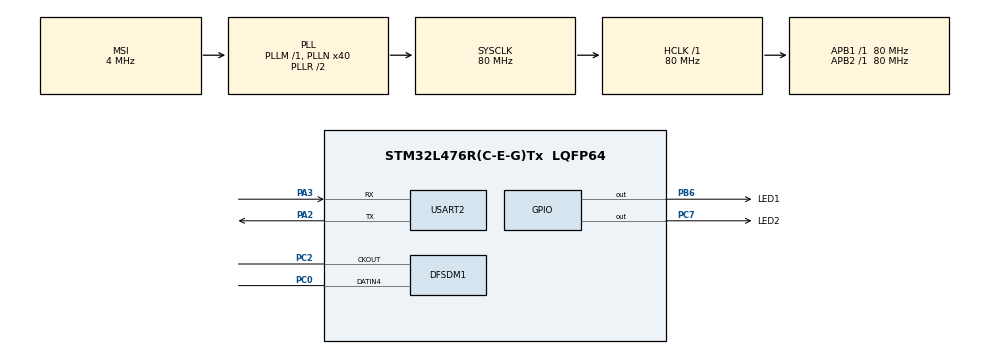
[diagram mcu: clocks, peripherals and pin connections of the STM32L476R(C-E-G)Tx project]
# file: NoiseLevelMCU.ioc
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DFSDM1.Divider=32
DFSDM1.DmaMode_reg_FIL0=ENABLE
DFSDM1.FastMode_reg_FIL0=ENABLE
DFSDM1.Filter_regChannel_FIL0=DFSDM_CHANNEL_3
DFSDM1.Filter_regChannel_FIL1=__NULL
DFSDM1.Fosr_FIL0=38
DFSDM1.Iosr_FIL0=4
DFSDM1.SincOrder_FIL0=DFSDM_FILTER_SINC4_ORDER
Dma.DFSDM1_FLT0.0.Direction=DMA_PERIPH_TO_MEMORY
Dma.DFSDM1_FLT0.0.Instance=DMA1_Channel4
Dma.DFSDM1_FLT0.0.MemDataAlignment=DMA_MDATAALIGN_WORD
Dma.DFSDM1_FLT0.0.MemInc=DMA_MINC_ENABLE
Dma.DFSDM1_FLT0.0.Mode=DMA_NORMAL
Dma.DFSDM1_FLT0.0.PeriphDataAlignment=DMA_PDATAALIGN_WORD
Dma.DFSDM1_FLT0.0.PeriphInc=DMA_PINC_DISABLE
Dma.DFSDM1_FLT0.0.Priority=DMA_PRIORITY_LOW
Dma.Request0=DFSDM1_FLT0
Mcu.Family=STM32L4
Mcu.Name=STM32L476R(C-E-G)Tx
Mcu.Package=LQFP64
NVIC.DMA1_Channel4_IRQn=true\:0\:0\:false\:false\:true\:false\:true\:true
NVIC.PriorityGroup=NVIC_PRIORITYGROUP_4
NVIC.TIM3_IRQn=true\:0\:0\:false\:false\:true\:true\:true\:true
PA2.Mode=Asynchronous
PA2.Signal=USART2_TX
PA3.Mode=Asynchronous
PA3.Signal=USART2_RX
PB6.GPIO_Label=LED1
PB6.Signal=GPIO_Output
PC0.Signal=S_DATAIN4DFSDM1
PC2.Signal=S_CKOUTDFSDM1
PC7.GPIO_Label=LED2
PC7.Signal=GPIO_Output
ProjectManager.HeapSize=0x200
ProjectManager.StackSize=0x400
ProjectManager.TargetToolchain=CMake
RCC.AHBFreq_Value=80000000
RCC.APB1Freq_Value=80000000
RCC.APB1TimFreq_Value=80000000
RCC.APB2Freq_Value=80000000
RCC.APB2TimFreq_Value=80000000
RCC.CortexFreq_Value=80000000
RCC.HCLKFreq_Value=80000000
RCC.HSE_VALUE=8000000
RCC.HSI_VALUE=16000000
RCC.LSE_VALUE=32768
RCC.MSI_VALUE=4000000
RCC.PLLN=40
RCC.SYSCLKFreq_VALUE=80000000
RCC.SYSCLKSource=RCC_SYSCLKSOURCE_PLLCLK
RCC.VCOOutputFreq_Value=160000000
SH.S_CKOUTDFSDM1.0=DFSDM1_CKOUT,PDM_SPI_Input_from_ch34_and_Internal_Clock
SH.S_DATAIN4DFSDM1.0=DFSDM1_DATIN4,PDM_SPI_Input_from_ch34_and_Internal_Clock
TIM3.Prescaler=2441
TIM3.TIM_MasterOutputTrigger=TIM_TRGO_UPDATE
USART2.VirtualMode-Asynchronous=VM_ASYNC
VP_TIM3_VS_ClockSourceINT.Mode=Internal
board=custom

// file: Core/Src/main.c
/* USER CODE BEGIN Header */

/* USER CODE END Header */
#include "main.h"

/* USER CODE BEGIN Includes */
#include "dsp.h"
#include <stdio.h>
/* USER CODE END Includes */

DFSDM_Filter_HandleTypeDef hdfsdm1_filter0;
DFSDM_Channel_HandleTypeDef hdfsdm1_channel3;
DMA_HandleTypeDef hdma_dfsdm1_flt0;

TIM_HandleTypeDef htim3;

UART_HandleTypeDef huart2;

/* USER CODE BEGIN PV */
volatile int mic_dma_finished_flag;
/* USER CODE END PV */

void SystemClock_Config(void);
static void MX_GPIO_Init(void);
static void MX_DMA_Init(void);
static void MX_USART2_UART_Init(void);
static void MX_DFSDM1_Init(void);
static void MX_TIM3_Init(void);

int main(void)
{

  /* MCU Configuration--------------------------------------------------------*/

  /* Reset of all peripherals, Initializes the Flash interface and the Systick. */
  HAL_Init();

  /* Configure the system clock */
  SystemClock_Config();

  /* Initialize all configured peripherals */
  MX_GPIO_Init();
  MX_DMA_Init();
  MX_USART2_UART_Init();
  MX_DFSDM1_Init();
  MX_TIM3_Init();

  /* Infinite loop */
  /* USER CODE BEGIN WHILE */
  while (1) {

    printf(
  " __      __       .__ \n\r"
  "/  \\    /  \\ ____ |  |   ____  ____   _____   ____  \n\r"
  "\\   \\/\\/   // __ \\|  | _/ ___\\/  _ \\ /     \\_/ __ \\ \n\r"
  " \\        /\\  ___/|  |_\\  \\__(  <_> )  Y Y  \\  ___/ \n\r"
  "  \\__/\\  /  \\___  >____/\\___  >____/|__|_|  /\\___  >\n\r"
  "       \\/       \\/          \\/            \\/     \\/ \n\r"
  "\n\r");

    HAL_Delay(2000);

    task();

    printf("Going in sleep mode\n\r\n\r");

    __HAL_TIM_SET_COUNTER(&htim3, 0);
    HAL_TIM_Base_Start(&htim3);
    __HAL_TIM_CLEAR_IT(&htim3, TIM_IT_UPDATE);
    __HAL_TIM_ENABLE_IT(&htim3, TIM_IT_UPDATE);

    HAL_SuspendTick();
    HAL_PWR_EnterSLEEPMode(PWR_LOWPOWERREGULATOR_ON, PWR_SLEEPENTRY_WFI);

    HAL_ResumeTick();
    HAL_TIM_Base_Stop(&htim3);

    printf("\033[2J");
    printf("\033[H");

    /* USER CODE END WHILE */

  }
}

void SystemClock_Config(void)
{
  RCC_OscInitTypeDef RCC_OscInitStruct = {0};
  RCC_ClkInitTypeDef RCC_ClkInitStruct = {0};

  /** Configure the main internal regulator output voltage
  */
  if (HAL_PWREx_ControlVoltageScaling(PWR_REGULATOR_VOLTAGE_SCALE1) != HAL_OK)
  {
    Error_Handler();
  }

  /** Initializes the RCC Oscillators according to the specified parameters
  * in the RCC_OscInitTypeDef structure.
  */
  RCC_OscInitStruct.OscillatorType = RCC_OSCILLATORTYPE_MSI;
  RCC_OscInitStruct.MSIState = RCC_MSI_ON;
  RCC_OscInitStruct.MSICalibrationValue = 0;
  RCC_OscInitStruct.MSIClockRange = RCC_MSIRANGE_6;
  RCC_OscInitStruct.PLL.PLLState = RCC_PLL_ON;
  RCC_OscInitStruct.PLL.PLLSource = RCC_PLLSOURCE_MSI;
  RCC_OscInitStruct.PLL.PLLM = 1;
  RCC_OscInitStruct.PLL.PLLN = 40;
  RCC_OscInitStruct.PLL.PLLP = RCC_PLLP_DIV7;
  RCC_OscInitStruct.PLL.PLLQ = RCC_PLLQ_DIV2;
  RCC_OscInitStruct.PLL.PLLR = RCC_PLLR_DIV2;
  if (HAL_RCC_OscConfig(&RCC_OscInitStruct) != HAL_OK)
  {
    Error_Handler();
  }

  /** Initializes the CPU, AHB and APB buses clocks
  */
  RCC_ClkInitStruct.ClockType = RCC_CLOCKTYPE_HCLK|RCC_CLOCKTYPE_SYSCLK
                              |RCC_CLOCKTYPE_PCLK1|RCC_CLOCKTYPE_PCLK2;
  RCC_ClkInitStruct.SYSCLKSource = RCC_SYSCLKSOURCE_PLLCLK;
  RCC_ClkInitStruct.AHBCLKDivider = RCC_SYSCLK_DIV1;
  RCC_ClkInitStruct.APB1CLKDivider = RCC_HCLK_DIV1;
  RCC_ClkInitStruct.APB2CLKDivider = RCC_HCLK_DIV1;

  if (HAL_RCC_ClockConfig(&RCC_ClkInitStruct, FLASH_LATENCY_4) != HAL_OK)
  {
    Error_Handler();
  }
}

static void MX_DFSDM1_Init(void)
{

  hdfsdm1_filter0.Instance = DFSDM1_Filter0;
  hdfsdm1_filter0.Init.RegularParam.Trigger = DFSDM_FILTER_SW_TRIGGER;
  hdfsdm1_filter0.Init.RegularParam.FastMode = ENABLE;
  hdfsdm1_filter0.Init.RegularParam.DmaMode = ENABLE;
  hdfsdm1_filter0.Init.FilterParam.SincOrder = DFSDM_FILTER_SINC4_ORDER;
  hdfsdm1_filter0.Init.FilterParam.Oversampling = 38;
  hdfsdm1_filter0.Init.FilterParam.IntOversampling = 4;
  if (HAL_DFSDM_FilterInit(&hdfsdm1_filter0) != HAL_OK)
  {
    Error_Handler();
  }
  hdfsdm1_channel3.Instance = DFSDM1_Channel3;
  hdfsdm1_channel3.Init.OutputClock.Activation = ENABLE;
  hdfsdm1_channel3.Init.OutputClock.Selection = DFSDM_CHANNEL_OUTPUT_CLOCK_SYSTEM;
  hdfsdm1_channel3.Init.OutputClock.Divider = 32;
  hdfsdm1_channel3.Init.Input.Multiplexer = DFSDM_CHANNEL_EXTERNAL_INPUTS;
  hdfsdm1_channel3.Init.Input.DataPacking = DFSDM_CHANNEL_STANDARD_MODE;
  hdfsdm1_channel3.Init.Input.Pins = DFSDM_CHANNEL_FOLLOWING_CHANNEL_PINS;
  hdfsdm1_channel3.Init.SerialInterface.Type = DFSDM_CHANNEL_SPI_RISING;
  hdfsdm1_channel3.Init.SerialInterface.SpiClock = DFSDM_CHANNEL_SPI_CLOCK_INTERNAL;
  hdfsdm1_channel3.Init.Awd.FilterOrder = DFSDM_CHANNEL_FASTSINC_ORDER;
  hdfsdm1_channel3.Init.Awd.Oversampling = 1;
  hdfsdm1_channel3.Init.Offset = 0;
  hdfsdm1_channel3.Init.RightBitShift = 0x00;
  if (HAL_DFSDM_ChannelInit(&hdfsdm1_channel3) != HAL_OK)
  {
    Error_Handler();
  }
  if (HAL_DFSDM_FilterConfigRegChannel(&hdfsdm1_filter0, DFSDM_CHANNEL_3, DFSDM_CONTINUOUS_CONV_ON) != HAL_OK)
  {
    Error_Handler();
  }

}

static void MX_TIM3_Init(void)
{

  TIM_ClockConfigTypeDef sClockSourceConfig = {0};
  TIM_MasterConfigTypeDef sMasterConfig = {0};

  htim3.Instance = TIM3;
  htim3.Init.Prescaler = 2441;
  htim3.Init.CounterMode = TIM_COUNTERMODE_UP;
  htim3.Init.Period = 65535;
  htim3.Init.ClockDivision = TIM_CLOCKDIVISION_DIV1;
  htim3.Init.AutoReloadPreload = TIM_AUTORELOAD_PRELOAD_DISABLE;
  if (HAL_TIM_Base_Init(&htim3) != HAL_OK)
  {
    Error_Handler();
  }
  sClockSourceConfig.ClockSource = TIM_CLOCKSOURCE_INTERNAL;
  if (HAL_TIM_ConfigClockSource(&htim3, &sClockSourceConfig) != HAL_OK)
  {
    Error_Handler();
  }
  sMasterConfig.MasterOutputTrigger = TIM_TRGO_UPDATE;
  sMasterConfig.MasterSlaveMode = TIM_MASTERSLAVEMODE_DISABLE;
  if (HAL_TIMEx_MasterConfigSynchronization(&htim3, &sMasterConfig) != HAL_OK)
  {
    Error_Handler();
  }

}

static void MX_USART2_UART_Init(void)
{

  huart2.Instance = USART2;
  huart2.Init.BaudRate = 115200;
  huart2.Init.WordLength = UART_WORDLENGTH_8B;
  huart2.Init.StopBits = UART_STOPBITS_1;
  huart2.Init.Parity = UART_PARITY_NONE;
  huart2.Init.Mode = UART_MODE_TX_RX;
  huart2.Init.HwFlowCtl = UART_HWCONTROL_NONE;
  huart2.Init.OverSampling = UART_OVERSAMPLING_16;
  huart2.Init.OneBitSampling = UART_ONE_BIT_SAMPLE_DISABLE;
  huart2.AdvancedInit.AdvFeatureInit = UART_ADVFEATURE_NO_INIT;
  if (HAL_UART_Init(&huart2) != HAL_OK)
  {
    Error_Handler();
  }

}

static void MX_DMA_Init(void)
{

  /* DMA controller clock enable */
  __HAL_RCC_DMA1_CLK_ENABLE();

  /* DMA interrupt init */
  /* DMA1_Channel4_IRQn interrupt configuration */
  HAL_NVIC_SetPriority(DMA1_Channel4_IRQn, 0, 0);
  HAL_NVIC_EnableIRQ(DMA1_Channel4_IRQn);

}

static void MX_GPIO_Init(void)
{
  GPIO_InitTypeDef GPIO_InitStruct = {0};

  /* GPIO Ports Clock Enable */
  __HAL_RCC_GPIOC_CLK_ENABLE();
  __HAL_RCC_GPIOA_CLK_ENABLE();
  __HAL_RCC_GPIOB_CLK_ENABLE();

  /*Configure GPIO pin Output Level */
  HAL_GPIO_WritePin(LED2_GPIO_Port, LED2_Pin, GPIO_PIN_RESET);

  /*Configure GPIO pin Output Level */
  HAL_GPIO_WritePin(LED1_GPIO_Port, LED1_Pin, GPIO_PIN_RESET);

  /*Configure GPIO pin : LED2_Pin */
  GPIO_InitStruct.Pin = LED2_Pin;
  GPIO_InitStruct.Mode = GPIO_MODE_OUTPUT_PP;
  GPIO_InitStruct.Pull = GPIO_NOPULL;
  GPIO_InitStruct.Speed = GPIO_SPEED_FREQ_LOW;
  HAL_GPIO_Init(LED2_GPIO_Port, &GPIO_InitStruct);

  /*Configure GPIO pin : LED1_Pin */
  GPIO_InitStruct.Pin = LED1_Pin;
  GPIO_InitStruct.Mode = GPIO_MODE_OUTPUT_PP;
  GPIO_InitStruct.Pull = GPIO_NOPULL;
  GPIO_InitStruct.Speed = GPIO_SPEED_FREQ_LOW;
  HAL_GPIO_Init(LED1_GPIO_Port, &GPIO_InitStruct);

}

/* USER CODE BEGIN 4 */
void HAL_DFSDM_FilterRegConvCpltCallback(DFSDM_Filter_HandleTypeDef *hdfsdm_filter) {
  UNUSED(hdfsdm_filter);
  mic_dma_finished_flag = 1;
}
/* USER CODE END 4 */

void Error_Handler(void)
{
  __disable_irq();
  while (1) {
  }
}
